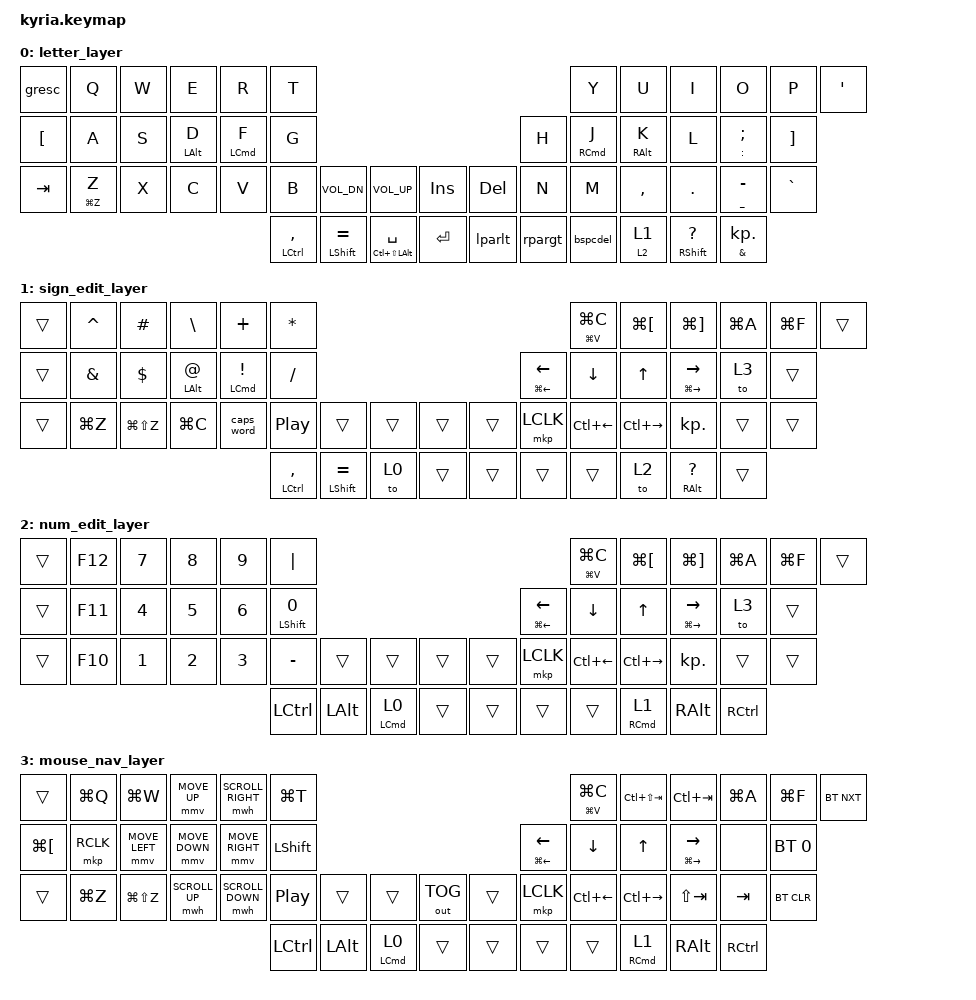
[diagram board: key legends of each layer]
/*
This version is adapted for macos. ctrl-cmd(gui) interchanged in macOS and on macKbrd.
Layers are changing through 0 layer. 0 layer as a base layer.
*/

#include <behaviors.dtsi>
#include <dt-bindings/zmk/keys.h>
#include <dt-bindings/zmk/bt.h>
#include <dt-bindings/zmk/outputs.h>
#include <dt-bindings/zmk/mouse.h>

// Fingers:
// 0 - Big Thumb
// 1 - INDEX
// 2 - MIDDLE
// 3 - Noname
// 4 - Pinky
// Layers:
// default_layer - letters L0 LLTR; SHFT - &sk for Capital letters layer
// on R0 tap - sticky layer of Spec signs LSGN with navs to LNUV & LNAV layers
// Thumbs (0) on rest position:
// L0 - kp SPC; lefter - SHFT; righter - Return (RET)
// R0 - tog &sl LSGN; on double-tap - &ltms LNUM
// Homerow mods on hold:
// CMD - L1, R1
// ALT - L2, R2
// Tap-dances and rolls:
// R0 - LSGN // features: left: signs, right: text nav, edit & nav to layers: left slide LNUM - right slide LNAV
// R0-R4 - LNAV // type: one-handed left-right roll
// R0-R0 - LNUM // type: dbl-tap R0
// R0-L0 - LLTR // action: return to default_layer from all layers
// R0-L4- CUNDO; R0-L3- CREDO
// R0-L1- CAPSW
// Left-right, right-left, dbl-tap, one-handed, dbl-handed

#define LLTR	0
#define LSGN	1
#define LNUV	2
#define LNAV	3

// Macros: View nav. Sys: MacOS. Hint: G = GUI = CMD
// 1 sys nav
#define PDKT LC(LEFT)
#define NDKT LC(RIGHT)
#define PTAB LC(LS(TAB))
#define NTAB LC(TAB)
#define PWIN LG(LS(TAB))
#define NWIN LG(TAB)
#define PSEL LS(TAB)
#define NSEL TAB
// 2 combo: MEH = C-A-S (CTR-ALT-SHFT)
#define MEH LC(LS(LALT))
// 3 text edit:
// indent
#define INDL LG(LBKT)
#define INDR LG(RBKT)
// switch input source
// #define LANG LG(SPACE)
// cut copy paste
// #define CCUT LG(X)
#define CCOPY LG(C)
#define CPASTE LG(V)
//undo redo
#define CUNDO LG(Z)
#define CREDO LG(LS(Z))
// 4 nav:
// back, forward
#define BCK LG(LBKT)
#define FWD LG(RBKT)
// hotkeys: find, select all, F5 refresh/debug?
#define FND LG(F)
#define SELA LG(A)
#define NEWT LG(T)
#define CLST LG(W)
#define CLSW LG(Q)

&sl {
	release-after-ms = <1000>;
};

&mt {
    flavor = "tap-preferred";
    tapping_term_ms = <200>;
};

&mmv {
   time-to-max-speed-ms = <340>;
   acceleration-exponent = <2>;
};

/ {
	behaviors {
		hm: homerow-mod {
			compatible = "zmk,behavior-hold-tap";
			label = "HOMEROW_MOD";
			#binding-cells = <2>;
			tapping_term_ms = <200>; // <220>;
			quick_tap_ms = <0>;
			flavor = "tap-preferred"; // "balanced";
			bindings = <&kp>, <&kp>;
		};

		tms: thumb-mod-sticky {
			compatible = "zmk,behavior-hold-tap";
			label = "THUMB_MOD_STICKY";
			#binding-cells = <2>;
			tapping_term_ms = <200>;
			quick_tap_ms = <0>;
			flavor = "tap-preferred";
			bindings = <&sk>, <&kp>;
		};

		ltms: layer-tap-mod-sticky {
			compatible = "zmk,behavior-hold-tap";
			label = "LAYER_TAP_MOD_STICKY";
			#binding-cells = <2>;
			flavor = "hold-preferred";
			tapping_term_ms = <200>;
			bindings = <&sk>, <&to>;
		};

		mlsl: momentary-layer-sticky-layer {
			compatible = "zmk,behavior-hold-tap";
			label = "LAYER_HOLD";
			#binding-cells = <2>;
			flavor = "hold-preferred";
			tapping_term_ms = <200>;
			bindings = <&mo>, <&sl>;
		};

		// graesc: grave-esc {
		// 	compatible = "zmk,behavior-mod-morph";
		// 	label = "GRAVE_ESC";
		// 	#binding-cells = <0>;
		// 	bindings = <&kp ESC>, <&kp RC(GRAVE)>;
		// 	mods = <(MOD_LCTL|MOD_RCTL|MOD_LGUI|MOD_RGUI|MOD_LSFT|MOD_RSFT)>;
		// 	keep-mods = <(MOD_LCTL|MOD_RCTL)>;
		// };

		bspcdel: backspace-delete {
			compatible = "zmk,behavior-mod-morph";
			label = "BACKSPACE_DELETE";
			#binding-cells = <0>;
			bindings = <&kp BSPC>, <&kp DEL>;
			mods = <(MOD_LSFT|MOD_RSFT)>;
    };

		lparlt: left-parenthesis-less-than {
			compatible = "zmk,behavior-mod-morph";
			label = "LPAR_LESS";
			#binding-cells = <0>;
			bindings = <&kp LPAR>, <&kp LT>;
			mods = <(MOD_LSFT|MOD_RSFT)>;
		};
		rpargt: right-parenthesis-greater-than {
			compatible = "zmk,behavior-mod-morph";
			label = "RPAR_GREAT";
			#binding-cells = <0>;
			bindings = <&kp RPAR>, <&kp GT>;
			mods = <(MOD_LSFT|MOD_RSFT)>;
		};
	};

	keymap {
		compatible = "zmk,keymap";

		letter_layer {
			// ---------------------------------------------------------------------------------------------------------------------------------
			// | Esc/` |  Q  |  W  |  E   |  R   |  T    |                                          |  Y    |  U    |  I    |  O   |   P   | '/"  |
			// | [/{   |  A  |  S  | D/Alt| F/Cmd|  G    |                                          |  H    | J/Cmd | K/Alt |  L   |  ;/:  | ]/}  |
			// | Tab   |Z/UND|  X  |  C   |  V   |  B    |  Vol-   |  Vol+   |  |   Ins   |  Del    |  N    |  M    |  ,    |  .   |  -/_  | `/~  |
			//                     |,/Ctr	|=+/Shf|Spc/Meh|  Ret    |  (/<    |  |   )/>   | Bsp/Del | L1/L2 | ?/Shf |  ./&  |
			bindings = <
				&gresc		&kp Q 			&kp W &kp E				&kp R				&kp T           		                        		    &kp Y &kp U  			&kp I				&kp O		&kp P   				&kp SQT
				&kp LBKT	&kp A 			&kp S	&hm LALT D	&hm LCMD F 	&kp G       		                        		        &kp H &hm RCMD J	&hm RALT K	&kp L		&mt COLON SEMI	&kp RBKT
				&kp TAB   &mt CUNDO Z &kp X &kp C 			&kp V 			&kp B	&kp C_VOL_DN	&kp C_VOL_UP  &kp INS	&kp DEL		&kp N &kp M  			&kp COMMA 	&kp DOT &hm UNDER MINUS	&kp GRAVE
									&mt LCTRL COMMA &tms LSHFT EQUAL &mt MEH SPACE	&kp RET				&lparlt				&rpargt	&bspcdel	&mlsl 2 1	&mt RSHFT QMARK &mt AMPS KP_DOT
			>;
		};

		sign_edit_layer {
			// ---------------------------------------------------------------------------------------------------------------------------------
			// | ---  |  ^  |  #  |  \   |  +   |  *    |                                          |CPY/PST| Ind- |  Ind+ | SelA |  Fnd  | ---  |
			// | [/{  |  &  |  $  |@/Alt |!/Cmd |  /    |                                          | Lf/GL | Down |  Up   | Ri/GR|  L3   | ]/}  |
			// | --- 	| UND | RED | CPY  |CAPSW |  Ply  |   ---   |  ---    |  |   ---   |  ---    | LClk  | Dkt- |  Dkt+ |  .   |  -/_  | ---  |
			//                    |,/Ctr |=/Shf |  L0   |   ---   |  (/<    |  |   )/>   |  ---    | L2    |?/Alt |  ./&  |
			bindings = <
				&trans	&kp CARET	&kp HASH  &kp BSLH		&kp PLUS 			&kp STAR    	                						&mt CPASTE CCOPY 	&kp INDL	&kp INDR	&kp SELA						&kp FND	&trans
				&trans	&kp AMPS	&kp DLLR 	&hm LALT AT	&hm LCMD EXCL	&kp FSLH    	                  					&hm LG(LEFT) LEFT	&kp DOWN	&kp UP		&hm LG(RIGHT) RIGHT	&to 3		&trans
				&trans	&kp CUNDO	&kp CREDO	&kp CCOPY		&caps_word 		&kp C_PP	&trans	&trans	&trans	&trans 	&mkp LCLK					&kp PDKT 	&kp NDKT	&kp KP_DOT					&trans	&trans
													&mt LCTRL COMMA 		&tms LSHFT EQUAL  &to 0 	&trans 	&trans  &trans	&trans	&to 2	&mt RALT QMARK	&trans
			>;
		};

		num_edit_layer {
			// ---------------------------------------------------------------------------------------------------------------------------------
			// | ---  | F12 |  7  |  8   |  9   |   |   |                                          |CPY/PST| Ind- |  Ind+ | SelA |  Fnd  | ---  |
			// | ---  | F11 |  4  |  5   |  6   | 0/Shf |                                          | Lf/GL | Down |  Up   | Ri/GR|  L3   | ---  |
			// | --- 	| F10 |  1  |  2   |  3   |  -/_  |   ---   |  ---    |  |   ---   |  ---    | LClk  | Dkt- |  Dkt+ |  .   |  -/_  | ---  |
			//                    | Ctr  | Alt  |L0/Cmd |   ---   |  ---    |  |   ---   |  ---    |L1/Cmd | Alt  |  Ctr  |
			bindings = <
				&trans 	&kp F12	&kp N7	&kp N8 &kp N9 &kp PIPE                    									&mt CPASTE CCOPY 	&kp INDL	&kp INDR	&kp SELA						&kp FND	&trans
				&trans	&kp F11	&kp N4	&kp N5 &kp N6 &hm LSHFT N0                      						&hm LG(LEFT) LEFT	&kp DOWN	&kp UP		&hm LG(RIGHT) RIGHT	&to 3		&trans
				&trans	&kp F10	&kp N1	&kp N2 &kp N3 &kp MINUS			&trans	&trans	&trans	&trans 	&mkp LCLK					&kp PDKT 	&kp NDKT	&kp KP_DOT					&trans	&trans
													&kp LCTRL  &kp LALT &ltms LCMD 0	&trans 	&trans  &trans	&trans	&ltms RCMD 1	&kp RALT	&kp RCTRL
			>;
		};

		mouse_nav_layer {
			// ---------------------------------------------------------------------------------------------------------------------------------
			// | ---  |ClsW | ClsT| MUP  | ScrR | NewT  |                                          |CPY/PST| Tab- |  Tab+ | SelA |  Fnd  | Ble+ |
			// | Back |RClk | ML  | MDN  | MR   | Shf   |                                          | Lf/GL | Down |  Up   | Ri/GR|  ---  | Ble0 |
			// | --- 	| UND | RED | ScrUp| ScrDn| Ply   |   Vol-  |  Vol+   |  |   Out   |  ---    | LClk  | Dkt- |  Dkt+ | Sel- | Sel+  | /Ble |
			//                    | Ctr  | Alt  |L0/Cmd |   ---   |  ---    |  |   ---   |  ---    | L1/Cmd| Alt  |  Ctr  |
			bindings = <
				&trans	&kp CLSW	&kp CLST					&mmv MOVE_UP		&mwh SCROLL_RIGHT	&kp NEWT	                    									&mt CPASTE CCOPY 	&kp PTAB	&kp NTAB	&kp SELA						&kp FND		&bt BT_NXT
				&kp BCK	&mkp RCLK	&mmv MOVE_LEFT 		&mmv MOVE_DOWN 	&mmv MOVE_RIGHT 	&kp LSHFT                     									&hm LG(LEFT) LEFT	&kp DOWN	&kp UP		&hm LG(RIGHT) RIGHT	&none			&bt BT_SEL 0
				&trans	&kp CUNDO	&kp CREDO  				&mwh SCROLL_UP 	&mwh SCROLL_DOWN	&kp C_PP	&trans	&trans	&out OUT_TOG	&trans 	&mkp LCLK					&kp PDKT 	&kp NDKT	&kp PSEL						&kp NSEL	&bt BT_CLR
																									&kp LCTRL  &kp LALT   &ltms LCMD 0		&trans 	&trans  &trans				&trans	&ltms RCMD 1	&kp RALT		&kp RCTRL
			>;
		};

			// ua-ru_layer
			// ---------------------------------------------------------------------------------------------------------------------------------
			// | Esc/ґ |  Й  |  Ц  |  У   |  К   |  Е/Ё  |                                          |  Н    |  Г    |  Ш    |  Щ   |   З   | Є/Э  |
			// |   Х   |  Ф  | І/Ы |  В   |  А   |  П    |                                          |  Р    |  О    |  Л    |  Д   |   Ж   | Ї/Ъ  |
			// | Tab   |  Я  |  Ч  |  С   |  М   |  И    |  ---    |  CAPS   |  |   Ins   |  Del    |  Т    |  Ь    |  Б    |  Ю   |  -/_  | Ґ/[ 	|
			//                     |,/Ctr	|  =+  |  Spc  |  Ret    |  (/<    |  |   )/>   |  Bsp    |  L1   | ,/L2  |  ,./?  |

	};
};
